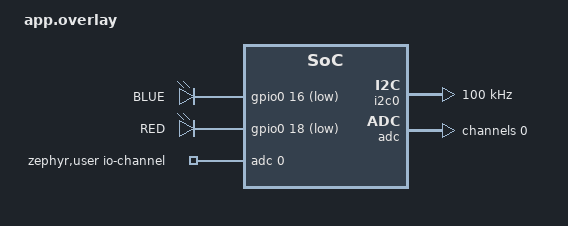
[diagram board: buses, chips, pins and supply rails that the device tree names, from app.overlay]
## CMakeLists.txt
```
cmake_minimum_required(VERSION 3.20.0)
find_package(Zephyr REQUIRED HINTS $ENV{ZEPHYR_BASE})
project(cadence_ebike)

target_sources(app PRIVATE
  src/main.c
  src/csc.c
  src/accel.c
  src/cadence.c
  src/rpm_svc.c
  src/battery.c
)
```

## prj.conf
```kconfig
# ===== BK6LS cadence sensor — nRF52810 (24 KB RAM), lean BLE peripheral =====

# --- Bluetooth core ---
CONFIG_BT=y
CONFIG_BT_PERIPHERAL=y
CONFIG_BT_DEVICE_NAME="BK6LS-Cadence"
# 1157 = Cycling: Cadence Sensor
CONFIG_BT_DEVICE_APPEARANCE=1157
CONFIG_BT_MAX_CONN=1
CONFIG_BT_MAX_PAIRED=0
CONFIG_BT_GATT_CLIENT=n
CONFIG_BT_BAS=y
CONFIG_BT_DIS=y

# --- Lean controller: peripheral-only SoftDevice Controller ---
CONFIG_BT_LL_SOFTDEVICE=y
CONFIG_BT_LL_SOFTDEVICE_PERIPHERAL=y

# --- Shrink BLE buffers / drop costly features (fit 24 KB RAM) ---
CONFIG_BT_BUF_ACL_TX_SIZE=27
CONFIG_BT_BUF_ACL_TX_COUNT=3
CONFIG_BT_BUF_EVT_RX_COUNT=4
CONFIG_BT_L2CAP_TX_BUF_COUNT=2
CONFIG_BT_ATT_TX_COUNT=2
CONFIG_BT_DATA_LEN_UPDATE=n
CONFIG_BT_PHY_UPDATE=n
CONFIG_BT_CTLR_PHY_2M=n
CONFIG_BT_GATT_CACHING=n
CONFIG_BT_GATT_SERVICE_CHANGED=n

# --- Peripherals ---
CONFIG_GPIO=y
CONFIG_I2C=y
CONFIG_ADC=y

# --- Size optimisation ---
CONFIG_SIZE_OPTIMIZATIONS=y

# --- Debug over SEGGER RTT (J-Link); no UART pins. (disable for production power) ---
CONFIG_USE_SEGGER_RTT=y
CONFIG_RTT_CONSOLE=y
CONFIG_CONSOLE=y
CONFIG_SERIAL=n
CONFIG_UART_CONSOLE=n
CONFIG_PRINTK=y
CONFIG_LOG=n
```

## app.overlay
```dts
/*
 * Board overlay for the BK6LS cadence sensor (built as nrf52dk/nrf52810).
 * Pinout from reverse engineering (see HARDWARE.md):
 *   I2C: SCL=P0.30, SDA=P0.28 ; accelerometer @ 0x4C
 *   LEDs (active-low): BLUE=P0.16, RED=P0.18
 *   Accel INT candidates: P0.15, P0.25
 *   Battery: SAADC internal VDD (no external pin)
 */
#include <zephyr/dt-bindings/adc/adc.h>
#include <zephyr/dt-bindings/adc/nrf-saadc.h>

&pinctrl {
	i2c0_default: i2c0_default {
		group1 {
			psels = <NRF_PSEL(TWIM_SDA, 0, 28)>,
				<NRF_PSEL(TWIM_SCL, 0, 30)>;
		};
	};

	i2c0_sleep: i2c0_sleep {
		group1 {
			psels = <NRF_PSEL(TWIM_SDA, 0, 28)>,
				<NRF_PSEL(TWIM_SCL, 0, 30)>;
			low-power-enable;
		};
	};
};

&i2c0 {
	/* accelerometer @ 0x4C accessed via the i2c API directly (no Zephyr driver) */
	compatible = "nordic,nrf-twim";
	status = "okay";
	clock-frequency = <100000>;
};

/ {
	leds_bk6ls {
		compatible = "gpio-leds";
		led_blue: led_blue {
			gpios = <&gpio0 16 GPIO_ACTIVE_LOW>;
			label = "BLUE";
		};
		led_red: led_red {
			gpios = <&gpio0 18 GPIO_ACTIVE_LOW>;
			label = "RED";
		};
	};

	aliases {
		led-blue = &led_blue;
		led-red = &led_red;
	};

	zephyr,user {
		io-channels = <&adc 0>;
	};
};

&adc {
	status = "okay";
	#address-cells = <1>;
	#size-cells = <0>;

	channel@0 {
		reg = <0>;
		zephyr,gain = "ADC_GAIN_1_6";
		zephyr,reference = "ADC_REF_INTERNAL";
		zephyr,acquisition-time = <ADC_ACQ_TIME_DEFAULT>;
		zephyr,input-positive = <NRF_SAADC_VDD>;
		zephyr,resolution = <12>;
	};
};
```

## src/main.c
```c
/*
 * BK6LS cadence/speed sensor — custom firmware (nRF52810).
 *
 * Standard CSC service (apps work) + custom 128-bit RPM service (live centi-RPM
 * every 100 ms). Cadence/speed from the rotating gravity vector (accel @0x4C).
 *
 * Power: adaptive. ACTIVE = advertising + 100 Hz sampling. When disconnected and
 * no rotation for IDLE_TIMEOUT, drop to SLEEP: advertising off, 1 s low-power
 * poll; any accelerometer change wakes back to ACTIVE. (Deeper System OFF +
 * hardware motion-INT and accel low-power mode come once the accel's INT/mode
 * registers are pinned down.)
 *
 * NOTE: for a real battery-current measurement, disconnect J-Link — an attached
 * debugger keeps the debug power domain on and inflates current by ~mA.
 */
#include <zephyr/kernel.h>
#include <zephyr/sys/printk.h>
#include <zephyr/drivers/gpio.h>
#include <zephyr/bluetooth/bluetooth.h>
#include <zephyr/bluetooth/conn.h>
#include <zephyr/bluetooth/uuid.h>
#include <zephyr/bluetooth/hci.h>
#include <zephyr/bluetooth/services/bas.h>

#include "csc.h"
#include "accel.h"
#include "cadence.h"
#include "rpm_svc.h"
#include "battery.h"

static const struct gpio_dt_spec led_blue = GPIO_DT_SPEC_GET(DT_NODELABEL(led_blue), gpios);
static const struct gpio_dt_spec led_red = GPIO_DT_SPEC_GET(DT_NODELABEL(led_red), gpios);

#define SAMPLE_MS       10    /* 100 Hz accel sampling when ACTIVE */
#define RPM_MS          100   /* custom RPM notify period */
#define CSC_MS          1000
#define IDLE_TIMEOUT_MS 20000 /* no motion + disconnected -> SLEEP */
#define SLEEP_POLL_MS   5000  /* low-power poll period in sleep */
#define BATT_MS         30000 /* battery level refresh period */
#define WAKE_DELTA      12    /* accel LSB change that counts as motion */

static volatile bool s_connected;
static bool s_advertising;

static const struct bt_data ad[] = {
	BT_DATA_BYTES(BT_DATA_FLAGS, (BT_LE_AD_GENERAL | BT_LE_AD_NO_BREDR)),
	BT_DATA_BYTES(BT_DATA_UUID16_ALL,
		      BT_UUID_16_ENCODE(BT_UUID_CSC_VAL),
		      BT_UUID_16_ENCODE(BT_UUID_BAS_VAL)),
};

static const struct bt_data sd[] = {
	BT_DATA(BT_DATA_NAME_COMPLETE, CONFIG_BT_DEVICE_NAME, sizeof(CONFIG_BT_DEVICE_NAME) - 1),
};

static void adv_start(void)
{
	if (s_advertising) {
		return;
	}
	int err = bt_le_adv_start(BT_LE_ADV_CONN_FAST_1, ad, ARRAY_SIZE(ad), sd, ARRAY_SIZE(sd));

	if (err) {
		printk("adv start failed (%d)\n", err);
		return;
	}
	s_advertising = true;
}

static void adv_stop(void)
{
	if (!s_advertising) {
		return;
	}
	bt_le_adv_stop();
	s_advertising = false;
}

static void connected(struct bt_conn *conn, uint8_t err)
{
	if (err) {
		printk("Connection failed (0x%02x)\n", err);
		return;
	}
	s_connected = true;
	s_advertising = false; /* adv auto-stops on connect */
	printk("Connected\n");
}

static void disconnected(struct bt_conn *conn, uint8_t reason)
{
	s_connected = false;
	printk("Disconnected (0x%02x)\n", reason);
	adv_start();
}

BT_CONN_CB_DEFINE(conn_callbacks) = {
	.connected = connected,
	.disconnected = disconnected,
};

static void leds_init(void)
{
	if (gpio_is_ready_dt(&led_blue)) {
		gpio_pin_configure_dt(&led_blue, GPIO_OUTPUT_INACTIVE);
	}
	if (gpio_is_ready_dt(&led_red)) {
		gpio_pin_configure_dt(&led_red, GPIO_OUTPUT_INACTIVE);
	}
}

/* Blocking LED pulse — used at the (infrequent) wake/sleep transitions. */
static void led_pulse(const struct gpio_dt_spec *led, int ms)
{
	gpio_pin_set_dt(led, 1);
	k_msleep(ms);
	gpio_pin_set_dt(led, 0);
}

static inline int16_t adiff(int16_t a, int16_t b)
{
	int d = (int)a - (int)b;

	return d < 0 ? -d : d;
}

int main(void)
{
	int err;

	printk("\n=== BK6LS cadence firmware ===\n");

	leds_init();
	led_pulse(&led_blue, 1000); /* power-on = waking up -> blue 1 s */

	if (accel_init()) {
		printk("WARN: accel not ready\n");
	}
	cadence_init(CAD_PLANE_XY); /* crank default; mode switch comes later */

	err = bt_enable(NULL);
	if (err) {
		printk("bt_enable failed (%d)\n", err);
		return 0;
	}
	csc_set_location(CSC_LOC_LEFT_CRANK);
	adv_start();
	printk("Advertising as '%s'\n", CONFIG_BT_DEVICE_NAME);

	if (battery_init() == 0) {
		bt_bas_set_battery_level(battery_percent());
		printk("battery: %u%% (%d mV)\n", battery_percent(), battery_millivolts());
	} else {
		printk("WARN: battery ADC not ready\n");
	}

	int64_t t_prev = k_uptime_get();
	int64_t t_rpm = t_prev + RPM_MS;
	int64_t t_csc = t_prev + CSC_MS;
	int64_t t_batt = t_prev + BATT_MS;
	int64_t t_motion = t_prev;
	int16_t sx = 0, sy = 0, sz = 0; /* sleep baseline */
	bool sleeping = false;

	while (1) {
		int16_t x = 0, y = 0, z = 0;

		if (!sleeping) {
			int64_t now = k_uptime_get();
			uint32_t dt = (uint32_t)(now - t_prev);

			t_prev = now;

			/* Self-heal advertising: restarting adv straight from the
			 * disconnected callback can fail with -ENOMEM (the conn object
			 * isn't freed yet), which would leave us silent until sleep.
			 * Retry here until it takes. adv_start() no-ops if already on. */
			if (!s_connected && !s_advertising) {
				adv_start();
			}

			if (accel_read_xyz(&x, &y, &z) == 0) {
				cadence_update(x, y, z, dt);
			}

			if (now >= t_rpm) {
				t_rpm += RPM_MS;
				cadence_tick_100ms();
				rpm_svc_set_centi_rpm(cadence_centi_rpm());
			}
			if (now >= t_csc) {
				t_csc += CSC_MS;
				uint16_t revs = cadence_total_revs();
				int16_t crpm = cadence_centi_rpm(); /* signed centi-RPM */

				csc_notify(CSC_CRANK_DATA_PRESENT, 0, 0, revs,
					   cadence_last_event_time_1024());
				printk("crpm=%d revs=%u xyz=%d,%d,%d\n",
				       crpm, revs, x, y, z);
			}

			if (now >= t_batt) {
				t_batt += BATT_MS;
				bt_bas_set_battery_level(battery_percent());
			}

			if (cadence_is_moving()) {
				t_motion = now;
			}
			/* Enter SLEEP only when nobody is connected and we've been
			 * still for a while. */
			if (!s_connected && (now - t_motion) > IDLE_TIMEOUT_MS) {
				printk("idle -> sleep\n");
				adv_stop();
				led_pulse(&led_red, 1000); /* falling asleep -> red 1 s */
				/* keep accel sampling (autosleep already low-power) so motion
				 * stays detectable — do NOT freeze ODR here. */
				accel_read_xyz(&sx, &sy, &sz);
				sleeping = true;
			}
			k_msleep(SAMPLE_MS);
		} else {
			/* Low-power poll: CPU deep-idles, then check for motion. */
			k_msleep(SLEEP_POLL_MS);
			int rc = accel_read_xyz(&x, &y, &z);

			printk("sleep poll rc=%d xyz=%d,%d,%d base=%d,%d,%d\n",
			       rc, x, y, z, sx, sy, sz);
			if (rc == 0 &&
			    (adiff(x, sx) > WAKE_DELTA || adiff(y, sy) > WAKE_DELTA ||
			     adiff(z, sz) > WAKE_DELTA)) {
				printk("motion -> wake\n");
				led_pulse(&led_blue, 1000); /* waking up -> blue 1 s */
				sleeping = false;
				cadence_resume();
				adv_start();
				int64_t now = k_uptime_get();

				t_prev = now;
				t_rpm = now + RPM_MS;
				t_csc = now + CSC_MS;
				t_motion = now;
			} else {
				sx = x; sy = y; sz = z;
			}
		}
	}
	return 0;
}
```

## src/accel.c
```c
/*
 * Accelerometer driver — BMA-register-compatible 3-axis accel at I2C 0x4C.
 * Data registers 0x02..0x07 = X/Y/Z, 16-bit little-endian signed (LSB bit0 is a
 * new-data flag; harmless for angle computation). Accessed via the Zephyr I2C
 * API directly (no dedicated Zephyr driver for this clone part).
 */
#include <zephyr/drivers/i2c.h>
#include <zephyr/sys/byteorder.h>
#include <zephyr/sys/printk.h>
#include <zephyr/sys/util.h>
#include <errno.h>

#include "accel.h"

#define ACCEL_ADDR    0x4C
#define REG_XYZ_BASE  0x02

static const struct device *const i2c = DEVICE_DT_GET(DT_NODELABEL(i2c0));

static int wr(uint8_t reg, uint8_t val)
{
	return i2c_reg_write_byte(i2c, ACCEL_ADDR, reg, val);
}

int accel_init(void)
{
	if (!device_is_ready(i2c)) {
		return -ENODEV;
	}

	/*
	 * MiraMEMS DA-family (BMA-register-compatible) 3-axis accel. It powers up
	 * in suspend (data regs read 0); the stock FW configures it and so must we.
	 * Order matters: CONFIG(0x00) has a soft-reset bit, so reset FIRST, then set
	 * RANGE/ODR, and write MODE_BW(0x11) LAST so PWR_OFF=0 (normal mode) sticks.
	 * Register decode (DA datasheet): MODE_BW bit7=PWR_OFF(0=normal); 0x07 =
	 * normal + BW + autosleep. RANGE 0x43=±16g. ODR 0x05=31.25 Hz.
	 */
	/*
	 * EXACT stock-firmware init sequence (reverse-engineered from the stock FW
	 * disassembly @0x24fca, see HARDWARE.md). The stock FW never writes reg 0x00
	 * — writing 0x00 wedges this chip. Includes the active/motion interrupt
	 * config (0x20/0x21/0x28/0x1A) which we reuse for wake-on-motion later.
	 */
	static const uint8_t init_seq[][2] = {
		{0x09, 0x00}, {0x0F, 0x42}, {0x20, 0x01}, {0x21, 0x80},
		{0x28, 0x00}, {0x1A, 0x00}, {0x20, 0x01}, {0x21, 0x00},
		{0x21, 0x81}, {0x20, 0x00}, {0x20, 0x00}, {0x21, 0x00},
		{0x21, 0x80}, {0x10, 0x01}, {0x11, 0x07}, {0x15, 0x34},
		{0x0F, 0x42}, {0x10, 0x05},
	};
	int rc = 0;

	for (size_t i = 0; i < ARRAY_SIZE(init_seq); i++) {
		rc |= wr(init_seq[i][0], init_seq[i][1]);
	}
	k_msleep(20);
	printk("accel init wr rc=%d\n", rc);
	accel_debug_dump();
	return 0;
}

void accel_set_lowpower(bool low)
{
	/* Lower the output data rate in sleep to cut accel current; restore for
	 * active sampling. ODR reg 0x10: 0x00 = slowest (~1 Hz), 0x05 = 31.25 Hz. */
	wr(0x10, low ? 0x00 : 0x05);
}

void accel_debug_dump(void)
{
	uint8_t d[0x12] = {0};
	int rc = i2c_burst_read(i2c, ACCEL_ADDR, 0x00, d, sizeof(d));

	printk("acc rc=%d cfg00=%02x id01=%02x rng0F=%02x odr10=%02x mode11=%02x dat=%d,%d,%d\n",
	       rc, d[0], d[1], d[0x0F], d[0x10], d[0x11],
	       (int16_t)(d[2] | (d[3] << 8)),
	       (int16_t)(d[4] | (d[5] << 8)),
	       (int16_t)(d[6] | (d[7] << 8)));
}

int accel_read_xyz(int16_t *x, int16_t *y, int16_t *z)
{
	uint8_t d[6];
	int rc = i2c_burst_read(i2c, ACCEL_ADDR, REG_XYZ_BASE, d, sizeof(d));

	if (rc) {
		return rc;
	}
	*x = (int16_t)sys_get_le16(&d[0]);
	*y = (int16_t)sys_get_le16(&d[2]);
	*z = (int16_t)sys_get_le16(&d[4]);
	return 0;
}
```

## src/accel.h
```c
#ifndef ACCEL_H_
#define ACCEL_H_

#include <stdint.h>
#include <stdbool.h>

/* 3-axis accelerometer at I2C 0x4C (BMA-register compatible). See HARDWARE.md. */

int accel_init(void);

/* Read raw signed 16-bit X/Y/Z (regs 0x02..0x07, little-endian). Returns 0 on success. */
int accel_read_xyz(int16_t *x, int16_t *y, int16_t *z);

/* Lower (true) or restore (false) the accel output data rate for low-power sleep. */
void accel_set_lowpower(bool low);

/* Print key accel registers + data over RTT (debug). */
void accel_debug_dump(void);

#endif /* ACCEL_H_ */
```

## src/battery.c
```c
/*
 * Battery measurement via the nRF52 SAADC internal VDD input (no external pin).
 * Maps supply voltage to a coin-cell percentage for the BLE Battery Service.
 */
#include <zephyr/drivers/adc.h>
#include <errno.h>

#include "battery.h"

#define BATT_FULL_MV 3000 /* CR2032 ~full */
#define BATT_EMPTY_MV 2000 /* CR2032 ~empty */

static const struct adc_dt_spec vbatt = ADC_DT_SPEC_GET(DT_PATH(zephyr_user));

int battery_init(void)
{
	if (!adc_is_ready_dt(&vbatt)) {
		return -ENODEV;
	}
	return adc_channel_setup_dt(&vbatt);
}

int battery_millivolts(void)
{
	int16_t raw = 0;
	struct adc_sequence seq = {
		.buffer = &raw,
		.buffer_size = sizeof(raw),
	};

	if (adc_sequence_init_dt(&vbatt, &seq) != 0) {
		return -EIO;
	}
	if (adc_read_dt(&vbatt, &seq) != 0) {
		return -EIO;
	}

	int32_t mv = raw;

	if (adc_raw_to_millivolts_dt(&vbatt, &mv) != 0) {
		return -EIO;
	}
	return mv;
}

uint8_t battery_percent(void)
{
	int mv = battery_millivolts();

	if (mv < 0) {
		return 0;
	}
	if (mv >= BATT_FULL_MV) {
		return 100;
	}
	if (mv <= BATT_EMPTY_MV) {
		return 0;
	}
	return (uint8_t)(((mv - BATT_EMPTY_MV) * 100) / (BATT_FULL_MV - BATT_EMPTY_MV));
}
```

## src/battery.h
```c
#ifndef BATTERY_H_
#define BATTERY_H_

#include <stdint.h>

/* Battery measured via the nRF52 SAADC internal VDD input (no external pin). */

int battery_init(void);

/* Supply (battery) voltage in millivolts, or <0 on error. */
int battery_millivolts(void);

/* Battery level 0..100 % (coin-cell curve: ~3.0 V full, ~2.0 V empty). */
uint8_t battery_percent(void);

#endif /* BATTERY_H_ */
```

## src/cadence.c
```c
/*
 * Cadence/speed estimation from the rotating gravity vector (see cadence.h).
 * Software float (no FPU) — fine at ~100 Hz.
 *
 * Pipeline per accel sample:
 *   1. Low-pass the raw accel vector (ACC_LPF_ALPHA) to kill high-freq noise.
 *   2. Only trust the angle when the in-plane |g| is a large fraction of |g|
 *      total (i.e. we're really looking at the rotation plane, not noise).
 *   3. Feed the measured angle into an alpha-beta tracker — the steady-state
 *      (constant-gain) form of a constant-velocity Kalman filter. It carries
 *      two states: the crank angle and its angular velocity omega. omega IS the
 *      cadence, estimated directly instead of by differencing a noisy angle over
 *      a window — that differencing was what made the old RPM jump 20<->70 at a
 *      steady pedal. The gains follow the Benedict-Bordner criterion
 *      (beta = alpha^2/(2-alpha)) for a critically-damped response, and dt is
 *      taken from the real sample spacing so gaps (gated-out samples) are OK.
 *
 * Revolutions come from the (signed) angle rolling over, so rest jitter makes no
 * phantom revs, and a stopped crank drives omega -> 0 on its own.
 */
#include <math.h>
#include <zephyr/kernel.h>

#include "cadence.h"

#define TWO_PI 6.28318530718f
#define PI_F   3.14159265359f

#define INPLANE_FRAC  0.40f  /* in-plane |g| must be >= 40% of total |g| */
#define RPM_DEADBAND  4.0f   /* |RPM| below this -> 0 */
#define EMA_ALPHA     0.50f  /* light final smoothing of the reported RPM */
#define ACC_LPF_ALPHA 0.35f  /* low-pass on raw accel to reduce atan2 jitter */

/* alpha-beta (steady-state Kalman, constant-velocity) tracker gains.
 * alpha smooths the angle, beta the velocity; smaller = smoother but laggier.
 * beta is derived from alpha (Benedict-Bordner) for a critically-damped step. */
#define AB_ALPHA 0.08f
#define AB_BETA  (AB_ALPHA * AB_ALPHA / (2.0f - AB_ALPHA)) /* ~0.00333 */

/* If valid angle samples are farther apart than this, the constant-velocity
 * prediction is stale — re-seed instead of trusting a huge innovation. */
#define MAX_DT_S 0.5f

static enum cadence_plane s_plane;
static bool s_have_prev;
static float s_theta;          /* tracked crank angle, wrapped to (-pi, pi] */
static float s_omega;          /* tracked angular velocity, rad/s (signed) */
static uint32_t s_pending_dt_ms; /* elapsed time since last valid angle update */
static int32_t s_rev_count;    /* net revolutions (signed; sign = direction) */
static float s_ema_rpm;        /* reported RPM (signed) */
static uint16_t s_last_evt_1024;

/* Low-pass on the raw accel vector (see ACC_LPF_ALPHA). */
static bool s_lpf_have;
static float s_fx, s_fy, s_fz;

void cadence_init(enum cadence_plane plane)
{
	s_plane = plane;
	s_have_prev = false;
	s_theta = 0;
	s_omega = 0;
	s_pending_dt_ms = 0;
	s_rev_count = 0;
	s_ema_rpm = 0;
	s_last_evt_1024 = 0;
	s_lpf_have = false;
	s_fx = s_fy = s_fz = 0;
}

static void pick_plane(int16_t x, int16_t y, int16_t z, float *a, float *b)
{
	switch (s_plane) {
	case CAD_PLANE_YZ:
		*a = (float)y; *b = (float)z; break;
	case CAD_PLANE_XZ:
		*a = (float)x; *b = (float)z; break;
	case CAD_PLANE_XY:
	default:
		*a = (float)x; *b = (float)y; break;
	}
}

/* Wrap an angle delta into (-pi, pi]. */
static float wrap_pi(float d)
{
	while (d > PI_F) {
		d -= TWO_PI;
	}
	while (d < -PI_F) {
		d += TWO_PI;
	}
	return d;
}

void cadence_update(int16_t x, int16_t y, int16_t z, uint32_t dt_ms)
{
	float a, b;

	/* 1. Low-pass the raw vector first: at 100 Hz this removes the
	 * high-frequency accel noise that would otherwise feed the tracker. */
	if (!s_lpf_have) {
		s_fx = (float)x;
		s_fy = (float)y;
		s_fz = (float)z;
		s_lpf_have = true;
	} else {
		s_fx += ACC_LPF_ALPHA * ((float)x - s_fx);
		s_fy += ACC_LPF_ALPHA * ((float)y - s_fy);
		s_fz += ACC_LPF_ALPHA * ((float)z - s_fz);
	}

	int16_t fx = (int16_t)s_fx, fy = (int16_t)s_fy, fz = (int16_t)s_fz;

	pick_plane(fx, fy, fz, &a, &b);

	float total = sqrtf(s_fx * s_fx + s_fy * s_fy + s_fz * s_fz);
	float inplane = sqrtf(a * a + b * b);

	/* Accumulate elapsed time even for samples we're about to gate out, so the
	 * tracker's dt reflects the real spacing between trusted angles. */
	s_pending_dt_ms += dt_ms;

	/* 2. Not the rotation plane (or no gravity): don't update the angle. omega
	 * is retained and keeps coasting the prediction. */
	if (total < 1.0f || inplane < INPLANE_FRAC * total) {
		return;
	}

	float angle = atan2f(b, a); /* -pi..pi */

	if (!s_have_prev) {
		s_theta = angle;
		s_omega = 0.0f;
		s_have_prev = true;
		s_pending_dt_ms = 0;
		return;
	}

	float dt = (float)s_pending_dt_ms * 0.001f;

	s_pending_dt_ms = 0;
	if (dt <= 0.0f) {
		dt = 0.01f; /* guard against a zero/negative interval */
	}
	if (dt > MAX_DT_S) {
		/* Prediction is stale after a long gap — re-seed, don't lurch. */
		s_theta = angle;
		s_omega = 0.0f;
		return;
	}

	/* 3. alpha-beta update. Predict, then correct with the wrapped innovation. */
	float theta_pred = s_theta + s_omega * dt;
	float innov = wrap_pi(angle - theta_pred);

	s_theta = theta_pred + AB_ALPHA * innov;
	s_omega = s_omega + (AB_BETA / dt) * innov;

	/* Roll the tracked angle back into (-pi, pi], counting whole revolutions as
	 * it crosses. Net (signed) rev count -> direction preserved. */
	int32_t rev_delta = 0;

	while (s_theta > PI_F) {
		s_theta -= TWO_PI;
		rev_delta++;
	}
	while (s_theta < -PI_F) {
		s_theta += TWO_PI;
		rev_delta--;
	}
	if (rev_delta) {
		s_rev_count += rev_delta;
		uint32_t up = (uint32_t)k_uptime_get();

		s_last_evt_1024 = (uint16_t)(((uint64_t)up * 1024u) / 1000u);
	}
}

void cadence_resume(void)
{
	/* Keep cumulative revs; drop the stale angle/velocity so the first post-wake
	 * sample re-seeds the tracker instead of producing a phantom jump. */
	s_have_prev = false;
	s_lpf_have = false;
	s_omega = 0.0f;
	s_pending_dt_ms = 0;
	s_ema_rpm = 0.0f;
}

void cadence_tick_100ms(void)
{
	/* omega is already a smooth velocity estimate; convert to RPM (signed) and
	 * apply a deadband + a light EMA just for display steadiness. */
	float rpm = s_omega * (60.0f / TWO_PI);

	if (fabsf(rpm) < RPM_DEADBAND) {
		rpm = 0.0f;
	}
	s_ema_rpm += EMA_ALPHA * (rpm - s_ema_rpm);
}

uint16_t cadence_total_revs(void)
{
	int32_t r = s_rev_count < 0 ? -s_rev_count : s_rev_count;

	return (uint16_t)r;
}

uint16_t cadence_last_event_time_1024(void)
{
	return s_last_evt_1024;
}

int16_t cadence_centi_rpm(void)
{
	float c = s_ema_rpm * 100.0f; /* signed centi-RPM */

	if (c > 32767.0f) {
		c = 32767.0f;
	}
	if (c < -32768.0f) {
		c = -32768.0f;
	}
	return (int16_t)c;
}

bool cadence_is_moving(void)
{
	return (s_ema_rpm > 5.0f) || (s_ema_rpm < -5.0f); /* sustained rotation, either way */
}
```

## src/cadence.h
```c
#ifndef CADENCE_H_
#define CADENCE_H_

#include <stdint.h>
#include <stdbool.h>

/*
 * Cadence/speed from a 3-axis accelerometer: as the crank (or wheel) turns, the
 * gravity vector rotates in the plane perpendicular to the rotation axis. We
 * track that angle to count revolutions and estimate RPM. Which axis pair is the
 * rotation plane depends on mounting (crank vs wheel) — selectable to support the
 * battery-reinsert mode switch.
 */
enum cadence_plane {
	CAD_PLANE_XY,
	CAD_PLANE_YZ,
	CAD_PLANE_XZ,
};

void cadence_init(enum cadence_plane plane);

/* Feed a new accel sample taken dt_ms after the previous one. */
void cadence_update(int16_t x, int16_t y, int16_t z, uint32_t dt_ms);

/* Call every 100 ms to sample the tracker's velocity into the reported RPM. */
void cadence_tick_100ms(void);

/* Resume after a low-power sleep: keep cumulative revs but drop the stale
 * previous-angle so the first post-wake sample doesn't create a phantom jump. */
void cadence_resume(void);

uint16_t cadence_total_revs(void);           /* cumulative revolutions (unsigned, for CSC) */
uint16_t cadence_last_event_time_1024(void); /* time of last whole-rev crossing, 1/1024 s */
int16_t cadence_centi_rpm(void);             /* smoothed instantaneous RPM x100, SIGNED (direction) */
bool cadence_is_moving(void);                /* rotation seen in the last few seconds */

#endif /* CADENCE_H_ */
```

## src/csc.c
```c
/*
 * Cycling Speed and Cadence (CSC) service — UUID 0x1816.
 * Adapted from the Zephyr peripheral_csc sample (Apache-2.0, (c) 2016 Intel).
 * Service attribute order is kept identical to the sample so the notify handle
 * csc_svc.attrs[1] (Measurement) and indicate handle attrs[8] (SC Control Point)
 * remain correct.
 */
#include <zephyr/types.h>
#include <string.h>
#include <errno.h>
#include <zephyr/sys/byteorder.h>
#include <zephyr/sys/util.h>
#include <zephyr/bluetooth/bluetooth.h>
#include <zephyr/bluetooth/gatt.h>
#include <zephyr/bluetooth/uuid.h>

#include "csc.h"

/* CSC sensor locations supported */
#define CSC_LOC_OTHER       0x00
#define CSC_LOC_FRONT_WHEEL 0x04
#define CSC_LOC_RIGHT_CRANK 0x06

/* CSC Feature bits */
#define CSC_FEAT_WHEEL_REV     BIT(0)
#define CSC_FEAT_CRANK_REV     BIT(1)
#define CSC_FEAT_MULTI_SENSORS BIT(2)
#define CSC_FEATURE (CSC_FEAT_WHEEL_REV | CSC_FEAT_CRANK_REV | CSC_FEAT_MULTI_SENSORS)

/* SC Control Point opcodes */
#define SC_CP_OP_SET_CWR      0x01
#define SC_CP_OP_UPDATE_LOC   0x03
#define SC_CP_OP_REQ_SUPP_LOC 0x04
#define SC_CP_OP_RESPONSE     0x10

/* SC Control Point response values */
#define SC_CP_RSP_SUCCESS     0x01
#define SC_CP_RSP_OP_NOT_SUPP 0x02
#define SC_CP_RSP_INVAL_PARAM 0x03

/* CSC application error codes */
#define CSC_ERR_CCC_CONFIG 0x81

static uint8_t supported_locations[] = {
	CSC_LOC_OTHER, CSC_LOC_FRONT_WHEEL, CSC_LOC_REAR_WHEEL,
	CSC_LOC_LEFT_CRANK, CSC_LOC_RIGHT_CRANK,
};
static uint8_t sensor_location = CSC_LOC_LEFT_CRANK;
static uint32_t c_wheel_revs; /* settable via SET_CWR */
static bool ctrl_point_configured;

static void ctrl_point_ind(struct bt_conn *conn, uint8_t req_op, uint8_t status,
			   const void *data, uint16_t data_len);

static void ctrl_point_ccc_cfg_changed(const struct bt_gatt_attr *attr, uint16_t value)
{
	ctrl_point_configured = value == BT_GATT_CCC_INDICATE;
}

static ssize_t read_location(struct bt_conn *conn, const struct bt_gatt_attr *attr,
			     void *buf, uint16_t len, uint16_t offset)
{
	return bt_gatt_attr_read(conn, attr, buf, len, offset, attr->user_data,
				 sizeof(sensor_location));
}

static ssize_t read_csc_feature(struct bt_conn *conn, const struct bt_gatt_attr *attr,
				void *buf, uint16_t len, uint16_t offset)
{
	uint16_t feature = CSC_FEATURE;

	return bt_gatt_attr_read(conn, attr, buf, len, offset, &feature, sizeof(feature));
}

struct write_sc_ctrl_point_req {
	uint8_t op;
	union {
		uint32_t cwr;
		uint8_t location;
	};
} __packed;

static ssize_t write_ctrl_point(struct bt_conn *conn, const struct bt_gatt_attr *attr,
				const void *buf, uint16_t len, uint16_t offset, uint8_t flags)
{
	const struct write_sc_ctrl_point_req *req = buf;
	uint8_t status;

	if (!ctrl_point_configured) {
		return BT_GATT_ERR(CSC_ERR_CCC_CONFIG);
	}
	if (!len) {
		return BT_GATT_ERR(BT_ATT_ERR_INVALID_ATTRIBUTE_LEN);
	}

	switch (req->op) {
	case SC_CP_OP_SET_CWR:
		if (len != sizeof(req->op) + sizeof(req->cwr)) {
			status = SC_CP_RSP_INVAL_PARAM;
			break;
		}
		c_wheel_revs = sys_le32_to_cpu(req->cwr);
		status = SC_CP_RSP_SUCCESS;
		break;
	case SC_CP_OP_UPDATE_LOC:
		if (len != sizeof(req->op) + sizeof(req->location)) {
			status = SC_CP_RSP_INVAL_PARAM;
			break;
		}
		if (req->location == sensor_location) {
			status = SC_CP_RSP_SUCCESS;
			break;
		}
		status = SC_CP_RSP_INVAL_PARAM;
		for (int i = 0; i < ARRAY_SIZE(supported_locations); i++) {
			if (supported_locations[i] == req->location) {
				sensor_location = req->location;
				status = SC_CP_RSP_SUCCESS;
				break;
			}
		}
		break;
	case SC_CP_OP_REQ_SUPP_LOC:
		if (len != sizeof(req->op)) {
			status = SC_CP_RSP_INVAL_PARAM;
			break;
		}
		ctrl_point_ind(conn, req->op, SC_CP_RSP_SUCCESS, supported_locations,
			       sizeof(supported_locations));
		return len;
	default:
		status = SC_CP_RSP_OP_NOT_SUPP;
	}

	ctrl_point_ind(conn, req->op, status, NULL, 0);
	return len;
}

/* Service layout MUST stay in this order (see attrs[1]/attrs[8] below). */
BT_GATT_SERVICE_DEFINE(csc_svc,
	BT_GATT_PRIMARY_SERVICE(BT_UUID_CSC),
	BT_GATT_CHARACTERISTIC(BT_UUID_CSC_MEASUREMENT, BT_GATT_CHRC_NOTIFY,
			       0x00, NULL, NULL, NULL),
	BT_GATT_CCC(NULL, BT_GATT_PERM_READ | BT_GATT_PERM_WRITE),
	BT_GATT_CHARACTERISTIC(BT_UUID_SENSOR_LOCATION, BT_GATT_CHRC_READ,
			       BT_GATT_PERM_READ, read_location, NULL, &sensor_location),
	BT_GATT_CHARACTERISTIC(BT_UUID_CSC_FEATURE, BT_GATT_CHRC_READ,
			       BT_GATT_PERM_READ, read_csc_feature, NULL, NULL),
	BT_GATT_CHARACTERISTIC(BT_UUID_SC_CONTROL_POINT,
			       BT_GATT_CHRC_WRITE | BT_GATT_CHRC_INDICATE,
			       BT_GATT_PERM_WRITE, NULL, write_ctrl_point, &sensor_location),
	BT_GATT_CCC(ctrl_point_ccc_cfg_changed, BT_GATT_PERM_READ | BT_GATT_PERM_WRITE),
);

struct sc_ctrl_point_ind {
	uint8_t op;
	uint8_t req_op;
	uint8_t status;
	uint8_t data[];
} __packed;

static void ctrl_point_ind(struct bt_conn *conn, uint8_t req_op, uint8_t status,
			   const void *data, uint16_t data_len)
{
	uint8_t buf[sizeof(struct sc_ctrl_point_ind) + sizeof(supported_locations)];
	struct sc_ctrl_point_ind *ind = (void *)buf;

	ind->op = SC_CP_OP_RESPONSE;
	ind->req_op = req_op;
	ind->status = status;
	if (data && data_len) {
		memcpy(ind->data, data, data_len);
	}
	bt_gatt_notify(conn, &csc_svc.attrs[8], buf, sizeof(*ind) + data_len);
}

void csc_set_location(uint8_t loc)
{
	sensor_location = loc;
}

void csc_notify(uint8_t flags, uint32_t cwr, uint16_t lwet, uint16_t ccr, uint16_t lcet)
{
	uint8_t buf[1 + 4 + 2 + 2 + 2];
	uint16_t len = 0;

	buf[len++] = flags;
	if (flags & CSC_WHEEL_DATA_PRESENT) {
		sys_put_le32(cwr, &buf[len]);
		len += 4;
		sys_put_le16(lwet, &buf[len]);
		len += 2;
	}
	if (flags & CSC_CRANK_DATA_PRESENT) {
		sys_put_le16(ccr, &buf[len]);
		len += 2;
		sys_put_le16(lcet, &buf[len]);
		len += 2;
	}
	bt_gatt_notify(NULL, &csc_svc.attrs[1], buf, len);
}
```

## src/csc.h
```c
#ifndef CSC_H_
#define CSC_H_

#include <stdint.h>

/* CSC Measurement flags */
#define CSC_WHEEL_DATA_PRESENT (1u << 0)
#define CSC_CRANK_DATA_PRESENT (1u << 1)

/* Common CSC sensor locations */
#define CSC_LOC_LEFT_CRANK 0x05
#define CSC_LOC_REAR_WHEEL 0x0c

/* Set the value reported by the Sensor Location characteristic. */
void csc_set_location(uint8_t loc);

/*
 * Send a CSC Measurement notification to all subscribers.
 *   flags : CSC_WHEEL_DATA_PRESENT and/or CSC_CRANK_DATA_PRESENT
 *   cwr   : cumulative wheel revolutions (uint32)
 *   lwet  : last wheel event time, units 1/1024 s (uint16)
 *   ccr   : cumulative crank revolutions (uint16)
 *   lcet  : last crank event time, units 1/1024 s (uint16)
 */
void csc_notify(uint8_t flags, uint32_t cwr, uint16_t lwet, uint16_t ccr, uint16_t lcet);

#endif /* CSC_H_ */
```

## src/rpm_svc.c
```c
/*
 * Custom vendor "RPM" service — live rotation speed as uint16 LE centi-RPM.
 * NOTIFY + READ. Standard CSC service is left untouched; this is additive.
 */
#include <zephyr/bluetooth/bluetooth.h>
#include <zephyr/bluetooth/gatt.h>
#include <zephyr/bluetooth/uuid.h>
#include <zephyr/sys/byteorder.h>

#include "rpm_svc.h"

#define RPM_SVC_UUID  BT_UUID_128_ENCODE(0xcad00001, 0xeb1c, 0x4f1e, 0x9b2a, 0x6f1c0de0cade)
#define RPM_CHAR_UUID BT_UUID_128_ENCODE(0xcad00002, 0xeb1c, 0x4f1e, 0x9b2a, 0x6f1c0de0cade)

static const struct bt_uuid_128 rpm_svc_uuid = BT_UUID_INIT_128(RPM_SVC_UUID);
static const struct bt_uuid_128 rpm_chr_uuid = BT_UUID_INIT_128(RPM_CHAR_UUID);

static int16_t cur_centi_rpm; /* signed: sign = direction */
static bool notify_enabled;

static void ccc_changed(const struct bt_gatt_attr *attr, uint16_t value)
{
	notify_enabled = (value == BT_GATT_CCC_NOTIFY);
}

static ssize_t read_rpm(struct bt_conn *conn, const struct bt_gatt_attr *attr,
			void *buf, uint16_t len, uint16_t offset)
{
	uint8_t le[2];

	sys_put_le16((uint16_t)cur_centi_rpm, le);
	return bt_gatt_attr_read(conn, attr, buf, len, offset, le, sizeof(le));
}

BT_GATT_SERVICE_DEFINE(rpm_svc,
	BT_GATT_PRIMARY_SERVICE(&rpm_svc_uuid),
	BT_GATT_CHARACTERISTIC(&rpm_chr_uuid.uuid,
			       BT_GATT_CHRC_NOTIFY | BT_GATT_CHRC_READ,
			       BT_GATT_PERM_READ, read_rpm, NULL, &cur_centi_rpm),
	BT_GATT_CCC(ccc_changed, BT_GATT_PERM_READ | BT_GATT_PERM_WRITE),
);

void rpm_svc_set_centi_rpm(int16_t centi_rpm)
{
	uint8_t le[2];

	cur_centi_rpm = centi_rpm;
	if (!notify_enabled) {
		return;
	}
	sys_put_le16((uint16_t)centi_rpm, le);
	bt_gatt_notify(NULL, &rpm_svc.attrs[1], le, sizeof(le));
}
```

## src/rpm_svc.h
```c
#ifndef RPM_SVC_H_
#define RPM_SVC_H_

#include <stdint.h>

/*
 * Custom vendor service exposing live rotation speed.
 * Characteristic value = SIGNED int16 little-endian centi-RPM (RPM x100), so the
 * sign indicates rotation direction (forward +, reverse -). NOTIFY+READ, pushed
 * every 100 ms. Range +/-327.67 RPM. UUIDs (128-bit):
 *   service: cad00001-eb1c-4f1e-9b2a-6f1c0de0cade
 *   char:    cad00002-eb1c-4f1e-9b2a-6f1c0de0cade
 */
void rpm_svc_set_centi_rpm(int16_t centi_rpm);

#endif /* RPM_SVC_H_ */
```
